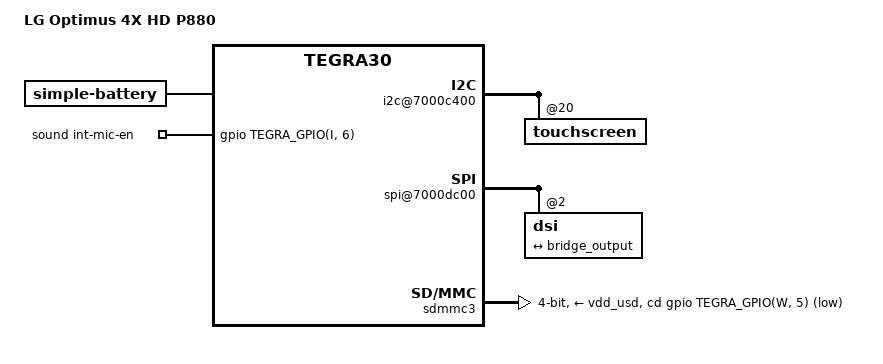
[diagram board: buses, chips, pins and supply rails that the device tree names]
// SPDX-License-Identifier: GPL-2.0
/dts-v1/;

#include "tegra30-lg-x3.dtsi"

/ {
	model = "LG Optimus 4X HD P880";
	compatible = "lge,p880", "nvidia,tegra30";

	aliases {
		mmc1 = &sdmmc3; /* uSD slot */
		mmc2 = &sdmmc1; /* WiFi */
	};

	pinmux@70000868 {
		pinctrl-names = "default";
		pinctrl-0 = <&state_default>;

		state_default: pinmux {
			/* WLAN SDIO pinmux */
			host_wlan_wake {
				nvidia,pins = "pu4";
				nvidia,function = "pwm1";
				nvidia,pull = <TEGRA_PIN_PULL_NONE>;
				nvidia,tristate = <TEGRA_PIN_ENABLE>;
				nvidia,enable-input = <TEGRA_PIN_ENABLE>;
			};

			/* GNSS UART-B pinmux */
			uartb_rxd {
				nvidia,pins = "uart2_rxd_pc3";
				nvidia,function = "uartb";
				nvidia,pull = <TEGRA_PIN_PULL_NONE>;
				nvidia,tristate = <TEGRA_PIN_DISABLE>;
				nvidia,enable-input = <TEGRA_PIN_ENABLE>;
			};
			uartb_txd {
				nvidia,pins = "uart2_txd_pc2";
				nvidia,function = "uartb";
				nvidia,pull = <TEGRA_PIN_PULL_NONE>;
				nvidia,tristate = <TEGRA_PIN_DISABLE>;
				nvidia,enable-input = <TEGRA_PIN_DISABLE>;
			};
			gps_reset {
				nvidia,pins = "kb_row7_pr7";
				nvidia,function = "kbc";
				nvidia,pull = <TEGRA_PIN_PULL_UP>;
				nvidia,tristate = <TEGRA_PIN_DISABLE>;
				nvidia,enable-input = <TEGRA_PIN_DISABLE>;
			};

			/* MicroSD pinmux */
			sdmmc3_clk {
				nvidia,pins = "sdmmc3_clk_pa6";
				nvidia,function = "sdmmc3";
				nvidia,pull = <TEGRA_PIN_PULL_NONE>;
				nvidia,tristate = <TEGRA_PIN_DISABLE>;
				nvidia,enable-input = <TEGRA_PIN_ENABLE>;
			};
			sdmmc3_data {
				nvidia,pins = "sdmmc3_cmd_pa7",
						"sdmmc3_dat0_pb7",
						"sdmmc3_dat1_pb6",
						"sdmmc3_dat2_pb5",
						"sdmmc3_dat3_pb4";
				nvidia,function = "sdmmc3";
				nvidia,pull = <TEGRA_PIN_PULL_UP>;
				nvidia,tristate = <TEGRA_PIN_DISABLE>;
				nvidia,enable-input = <TEGRA_PIN_ENABLE>;
			};
			microsd_detect {
				nvidia,pins = "clk2_out_pw5";
				nvidia,function = "rsvd2";
				nvidia,pull = <TEGRA_PIN_PULL_UP>;
				nvidia,tristate = <TEGRA_PIN_DISABLE>;
				nvidia,enable-input = <TEGRA_PIN_ENABLE>;
			};

			/* GPIO keys pinmux */
			volume_up {
				nvidia,pins = "ulpi_data6_po7";
				nvidia,function = "spi2";
				nvidia,pull = <TEGRA_PIN_PULL_UP>;
				nvidia,tristate = <TEGRA_PIN_DISABLE>;
				nvidia,enable-input = <TEGRA_PIN_ENABLE>;
			};

			/* Sensors pinmux */
			current_alert_irq {
				nvidia,pins = "uart2_rts_n_pj6";
				nvidia,function = "uartb";
				nvidia,pull = <TEGRA_PIN_PULL_UP>;
				nvidia,tristate = <TEGRA_PIN_DISABLE>;
				nvidia,enable-input = <TEGRA_PIN_ENABLE>;
			};

			/* AUDIO pinmux */
			sub_mic_ldo {
				nvidia,pins = "gmi_cs7_n_pi6";
				nvidia,function = "gmi";
				nvidia,pull = <TEGRA_PIN_PULL_DOWN>;
				nvidia,tristate = <TEGRA_PIN_DISABLE>;
				nvidia,enable-input = <TEGRA_PIN_DISABLE>;
			};
		};
	};

	serial@70006040 {
		gnss {
			reset-gpios = <&gpio TEGRA_GPIO(R, 7) GPIO_ACTIVE_LOW>;
		};
	};

	i2c@7000c400 {
		touchscreen@20 {
			rmi4-f11@11 {
				syna,clip-x-high = <1440>;
				syna,clip-y-high = <2780>;

				touchscreen-inverted-y;
			};
		};
	};

	spi@7000dc00 {
		dsi@2 {
			/*
			 * JDI 4.57" 720x1280 DX12D100VM0EAA MIPI DSI panel
			 */
			panel@1 {
				compatible = "jdi,dx12d100vm0eaa";
				reg = <1>;

				reset-gpios = <&gpio TEGRA_GPIO(W, 0) GPIO_ACTIVE_LOW>;

				vdd-supply = <&vcc_3v0_lcd>;
				vddio-supply = <&iovcc_1v8_lcd>;

				backlight = <&backlight>;

				port {
					panel_input: endpoint {
						remote-endpoint = <&bridge_output>;
					};
				};
			};
		};
	};

	sdmmc3: mmc@78000400 {
		status = "okay";

		cd-gpios = <&gpio TEGRA_GPIO(W, 5) GPIO_ACTIVE_LOW>;
		bus-width = <4>;

		vmmc-supply = <&vdd_usd>;
		vqmmc-supply = <&vdd_1v8_vio>;
	};

	battery: battery-cell {
		compatible = "simple-battery";
		device-chemistry = "lithium-ion";
		charge-full-design-microamp-hours = <2150000>;
		energy-full-design-microwatt-hours = <8200000>;
		operating-range-celsius = <0 45>;
	};

	gpio-keys {
		key-volume-up {
			label = "Volume Up";
			gpios = <&gpio TEGRA_GPIO(O, 7) GPIO_ACTIVE_LOW>;
			linux,code = <KEY_VOLUMEUP>;
			debounce-interval = <10>;
			wakeup-event-action = <EV_ACT_ASSERTED>;
			wakeup-source;
		};
	};

	sound {
		compatible = "lge,tegra-audio-max98089-p880",
			     "nvidia,tegra-audio-max98089";
		nvidia,model = "LG Optimus 4X HD MAX98089";

		nvidia,int-mic-en-gpios = <&gpio TEGRA_GPIO(I, 6) GPIO_ACTIVE_HIGH>;
	};
};
